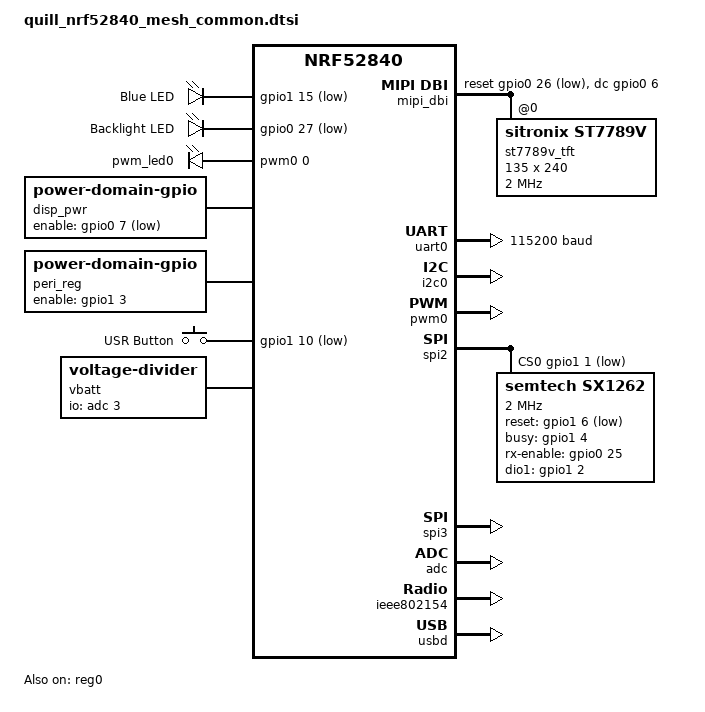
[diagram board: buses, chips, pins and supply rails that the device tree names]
/*
 * Copyright (c) 2025 Chiho Sin
 *
 * SPDX-License-Identifier: Apache-2.0
 */

#include <nordic/nrf52840_qiaa.dtsi>
#include <nordic/nrf52840_partition_uf2_sdv7.dtsi>
#include <zephyr/dt-bindings/input/input-event-codes.h>
#include <zephyr/dt-bindings/lora/sx126x.h>
#include <zephyr/dt-bindings/led/led.h>
#include <zephyr/dt-bindings/mipi_dbi/mipi_dbi.h>
#include "quill_nrf52840_mesh-pinctrl.dtsi"
#include "fobe_quill_connector.dtsi"

/ {
	chosen {
		zephyr,ieee802154 = &ieee802154;
		zephyr,display = &st7789v_tft;
	};

	leds {
		compatible = "gpio-leds";

		led0: led_0 {
			label = "Blue LED";
			gpios = <&gpio1 15 GPIO_ACTIVE_LOW>;
		};

		led1: led_1 {
			label = "Backlight LED";
			gpios = <&gpio0 27 GPIO_ACTIVE_LOW>;
		};
	};

	pwmleds {
		compatible = "pwm-leds";

		pwm_led0: pwm_led_0 {
			pwms = <&pwm0 0 PWM_MSEC(20) PWM_POLARITY_INVERTED>;
		};
	};

	disp_pwr: disp_pwr {
		compatible = "power-domain-gpio";
		#power-domain-cells = <0>;
		enable-gpios = <&gpio0 7 (GPIO_PULL_UP | GPIO_ACTIVE_LOW)>;
		startup-delay-us = <5000>;
	};

	peri_reg: peri_reg {
		compatible = "power-domain-gpio";
		#power-domain-cells = <0>;
		enable-gpios = <&gpio1 3 GPIO_ACTIVE_HIGH>;
		startup-delay-us = <5000>;
	};

	mipi_dbi {
		compatible = "zephyr,mipi-dbi-spi";
		spi-dev = <&spi3>;
		dc-gpios = <&gpio0 6 (GPIO_PULL_DOWN | GPIO_ACTIVE_HIGH)>;
		reset-gpios = <&gpio0 26 (GPIO_PULL_UP | GPIO_ACTIVE_LOW)>;
		write-only;
		#address-cells = <1>;
		#size-cells = <0>;
		status = "okay";

		st7789v_tft: st7789v_tft@0 {
			compatible = "sitronix,st7789v";
			power-domains = <&disp_pwr>;
			status = "okay";
			reg = <0>;
			mipi-max-frequency = <DT_FREQ_M(2)>;
			width = <135>;
			height = <240>;
			x-offset = <52>;
			y-offset = <40>;
			vcom = <0x3F>;
			gctrl = <0x05>;
			vrhs = <0x0F>;
			vdvs = <0x20>;
			mdac = <0x00>;
			gamma = <0x01>;
			colmod = <0x05>;
			lcm = <0x2C>;
			porch-param = [05 05 00 33 33];
			cmd2en-param = [5A 69 02 00];
			pwctrl1-param = [A4 A1];
			pvgam-param = [D0 05 09 09 08 14 28 33 3F 07 13 14 28 30];
			nvgam-param = [D0 05 09 09 08 03 24 32 32 3B 14 13 28 2F];
			ram-param = [00 F0];
			rgb-param = [40 02 14];
			mipi-mode = "MIPI_DBI_MODE_SPI_4WIRE";
		};
	};

	buttons {
		compatible = "gpio-keys";

		button0: button_0 {
			gpios = <&gpio1 10 (GPIO_PULL_UP | GPIO_ACTIVE_LOW)>;
			label = "USR Button";
			zephyr,code = <INPUT_KEY_0>;
		};
	};

	vbatt {
		compatible = "voltage-divider";
		io-channels = <&adc 3>;
		output-ohms = <1000000>;
		full-ohms = <(1000000 + 1500000)>;
	};

	/* These aliases are provided for compatibility with samples */
	aliases {
		led0 = &led0;
		pwm-led0 = &pwm_led0;
		mcuboot-led0 = &led0;
		backlight = &led1;
		lora0 = &lora0;
		sw0 = &button0;
		watchdog0 = &wdt0;
	};
};

&uart0 {
	status = "okay";
	current-speed = <115200>;
	pinctrl-0 = <&uart0_default>;
	pinctrl-1 = <&uart0_sleep>;
	pinctrl-names = "default", "sleep";
};

&i2c0 {
	status = "okay";
	pinctrl-0 = <&i2c0_default>;
	pinctrl-1 = <&i2c0_sleep>;
	pinctrl-names = "default", "sleep";
};

&pwm0 {
	status = "okay";
	pinctrl-0 = <&pwm0_default>;
	pinctrl-1 = <&pwm0_sleep>;
	pinctrl-names = "default", "sleep";
};

&spi2 {
	status = "okay";
	pinctrl-0 = <&spi2_default>;
	pinctrl-1 = <&spi2_sleep>;
	pinctrl-names = "default", "sleep";
	cs-gpios = <&gpio1 1 (GPIO_PULL_UP | GPIO_ACTIVE_LOW)>;

	lora0: lora@0 {
		compatible = "semtech,sx1262";
		label = "sx1262";
		reg = <0>;
		reset-gpios = <&gpio1 6 (GPIO_PULL_UP | GPIO_ACTIVE_LOW)>;
		busy-gpios = <&gpio1 4 (GPIO_PULL_DOWN | GPIO_ACTIVE_HIGH)>;
		rx-enable-gpios = <&gpio0 25 (GPIO_PULL_DOWN | GPIO_ACTIVE_HIGH)>;
		dio1-gpios = <&gpio1 2 (GPIO_PULL_DOWN | GPIO_ACTIVE_HIGH)>;
		dio2-tx-enable;
		dio3-tcxo-voltage = <SX126X_DIO3_TCXO_1V8>;
		tcxo-power-startup-delay-ms = <2>;
		spi-max-frequency = <DT_FREQ_M(2)>;
	};
};

&spi3 {
	status = "okay";
	pinctrl-0 = <&spi3_default>;
	pinctrl-1 = <&spi3_sleep>;
	pinctrl-names = "default", "sleep";
	cs-gpios = <&gpio0 12 (GPIO_PULL_UP | GPIO_ACTIVE_LOW)>;
};

&reg0 {
	status = "okay";
};

&reg1 {
	regulator-initial-mode = <NRF5X_REG_MODE_DCDC>;
};

&adc {
	status = "okay";
};

&uicr {
	gpio-as-nreset;
};

&ieee802154 {
	status = "okay";
};

&gpiote {
	status = "okay";
};

&gpio0 {
	status = "okay";
};

&gpio1 {
	status = "okay";
};

zephyr_udc0: &usbd {
	status = "okay";
};

#include <../boards/common/usb/cdc_acm_serial.dtsi>
